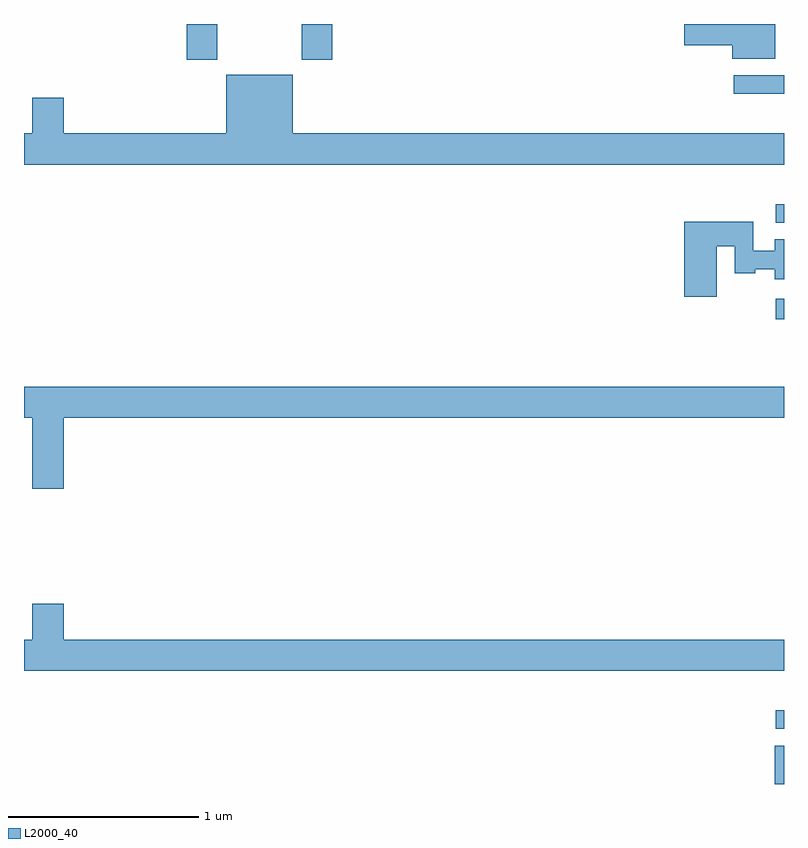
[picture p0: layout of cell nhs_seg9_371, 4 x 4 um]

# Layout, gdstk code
import gdstk
lib = gdstk.Library(unit=1e-6, precision=1e-09)
def R(c, l, rs):  # rectangles x0, y0, x1, y1
    for r in rs: c.add(gdstk.rectangle(r[:2], r[2:], *l))
def P(c, l, *ps):  # polygons
    for p in ps: c.add(gdstk.Polygon(p, *l))
L2000_40 = (2000, 40)

nhs_seg9_371 = lib.new_cell('nhs_seg9_371')
R(nhs_seg9_371, L2000_40, [(132.95,1186.5,133,1186.702), (132.957,1186.791,133,1186.887), (132.957,1188.945,133,1189.053), (132.957,1189.455,133,1189.551), (132.735,1190.133,133,1190.229), (129.857,1190.313,130.017,1190.5), (130.462,1190.313,130.622,1190.5)])
P(nhs_seg9_371, L2000_40, [(132.955,1190.5),(132.476,1190.5),(132.476,1190.387),(132.728,1190.387),(132.728,1190.318),(132.955,1190.318)],
  [(133,1189.924),(130.414,1189.924),(130.414,1190.233),(130.064,1190.233),(130.064,1189.924),(129.208,1189.924),(129.208,1190.113),(129.044,1190.113),(129.044,1189.924),(129,1189.924),(129,1189.76),(133,1189.76)],
  [(132.646,1189.33),(132.741,1189.33),(132.741,1189.189),(132.849,1189.189),(132.849,1189.208),(132.95,1189.208),(132.95,1189.157),(133,1189.157),(133,1189.366),(132.95,1189.366),(132.95,1189.306),(132.837,1189.306),(132.837,1189.459),(132.476,1189.459),(132.476,1189.065),(132.646,1189.065)],
  [(129.208,1188.428),(133,1188.428),(133,1188.592),(129,1188.592),(129,1188.428),(129.044,1188.428),(129.044,1188.054),(129.208,1188.054)],
  [(133,1187.26),(129.208,1187.26),(129.208,1187.449),(129.044,1187.449),(129.044,1187.26),(129,1187.26),(129,1187.096),(133,1187.096)])

lib.write_gds('nhs_seg9_371.gds')
